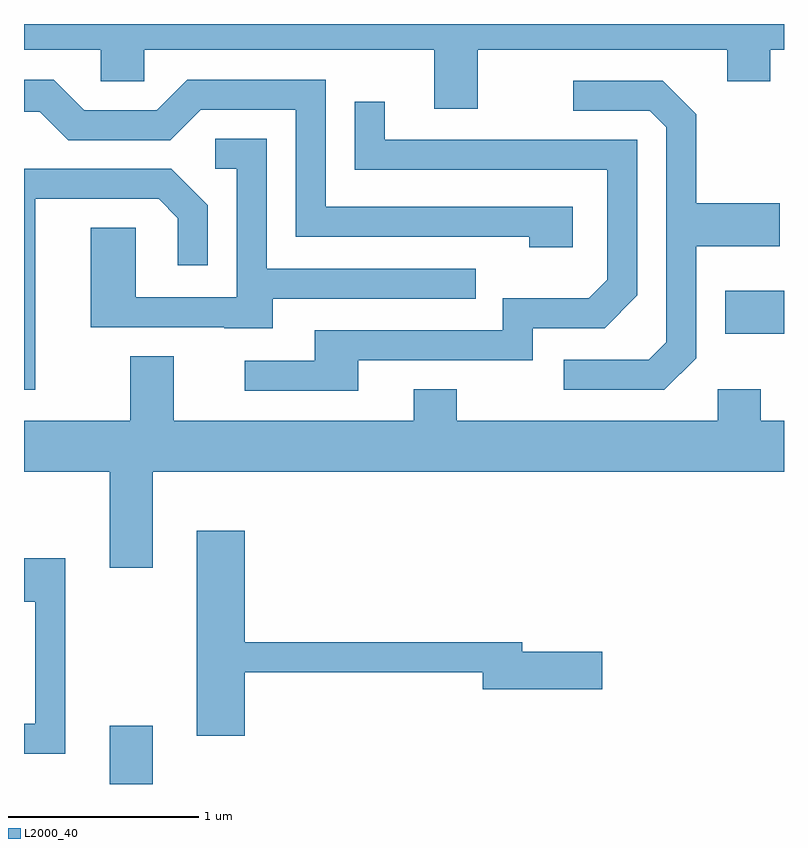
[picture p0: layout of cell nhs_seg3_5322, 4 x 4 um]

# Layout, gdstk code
import gdstk
lib = gdstk.Library(unit=1e-6, precision=1e-09)
def R(c, l, rs):  # rectangles x0, y0, x1, y1
    for r in rs: c.add(gdstk.rectangle(r[:2], r[2:], *l))
def P(c, l, *ps):  # polygons
    for p in ps: c.add(gdstk.Polygon(p, *l))
L2000_40 = (2000, 40)

nhs_seg3_5322 = lib.new_cell('nhs_seg3_5322')
R(nhs_seg3_5322, L2000_40, [(342.061,1159.892,342.289,1160.199), (345.301,1162.261,345.611,1162.489)])
P(nhs_seg3_5322, L2000_40, [(343.999,1163.756),(345.311,1163.756),(345.311,1163.591),(345.539,1163.591),(345.539,1163.756),(345.611,1163.756),(345.611,1163.892),(341.611,1163.892),(341.611,1163.756),(342.016,1163.756),(342.016,1163.591),(342.244,1163.591),(342.244,1163.756),(343.771,1163.756),(343.771,1163.446),(343.999,1163.446)],
  [(344.499,1162.929),(343.199,1162.929),(343.199,1163.599),(342.469,1163.599),(342.309,1163.439),(341.927,1163.439),(341.767,1163.599),(341.611,1163.599),(341.611,1163.431),(341.694,1163.431),(341.844,1163.281),(342.382,1163.281),(342.542,1163.441),(343.041,1163.441),(343.041,1162.771),(344.271,1162.771),(344.271,1162.716),(344.499,1162.716)],
  [(345.149,1162.134),(345.149,1162.721),(345.589,1162.721),(345.589,1162.949),(345.149,1162.949),(345.149,1163.417),(344.972,1163.594),(344.503,1163.594),(344.503,1163.436),(344.904,1163.436),(344.991,1163.349),(344.991,1162.217),(344.899,1162.124),(344.453,1162.124),(344.453,1161.966),(344.982,1161.966)],
  [(343.369,1162.121),(344.289,1162.121),(344.289,1162.291),(344.667,1162.291),(344.839,1162.464),(344.839,1163.284),(343.509,1163.284),(343.509,1163.483),(343.351,1163.483),(343.351,1163.126),(344.681,1163.126),(344.681,1162.547),(344.584,1162.449),(344.131,1162.449),(344.131,1162.279),(343.141,1162.279),(343.141,1162.119),(342.773,1162.119),(342.773,1161.961),(343.369,1161.961)],
  [(342.919,1162.446),(343.988,1162.446),(343.988,1162.604),(342.889,1162.604),(342.889,1163.289),(342.618,1163.289),(342.618,1163.131),(342.731,1163.131),(342.731,1162.454),(342.199,1162.454),(342.199,1162.819),(341.961,1162.819),(341.961,1162.296),(342.665,1162.296),(342.665,1162.291),(342.919,1162.291)],
  [(341.669,1162.971),(342.319,1162.971),(342.421,1162.869),(342.421,1162.623),(342.579,1162.623),(342.579,1162.937),(342.387,1163.129),(341.611,1163.129),(341.611,1161.966),(341.669,1161.966)],
  [(345.261,1161.969),(345.261,1161.804),(343.889,1161.804),(343.889,1161.969),(343.661,1161.969),(343.661,1161.804),(342.399,1161.804),(342.399,1162.144),(342.171,1162.144),(342.171,1161.804),(341.611,1161.804),(341.611,1161.536),(342.061,1161.536),(342.061,1161.031),(342.289,1161.031),(342.289,1161.536),(345.611,1161.536),(345.611,1161.804),(345.489,1161.804),(345.489,1161.969)],
  [(342.774,1160.481),(344.026,1160.481),(344.026,1160.391),(344.654,1160.391),(344.654,1160.589),(344.234,1160.589),(344.234,1160.639),(342.774,1160.639),(342.774,1161.224),(342.521,1161.224),(342.521,1160.146),(342.774,1160.146)],
  [(341.829,1161.079),(341.611,1161.079),(341.611,1160.851),(341.671,1160.851),(341.671,1160.209),(341.611,1160.209),(341.611,1160.051),(341.829,1160.051)])

lib.write_gds('nhs_seg3_5322.gds')
